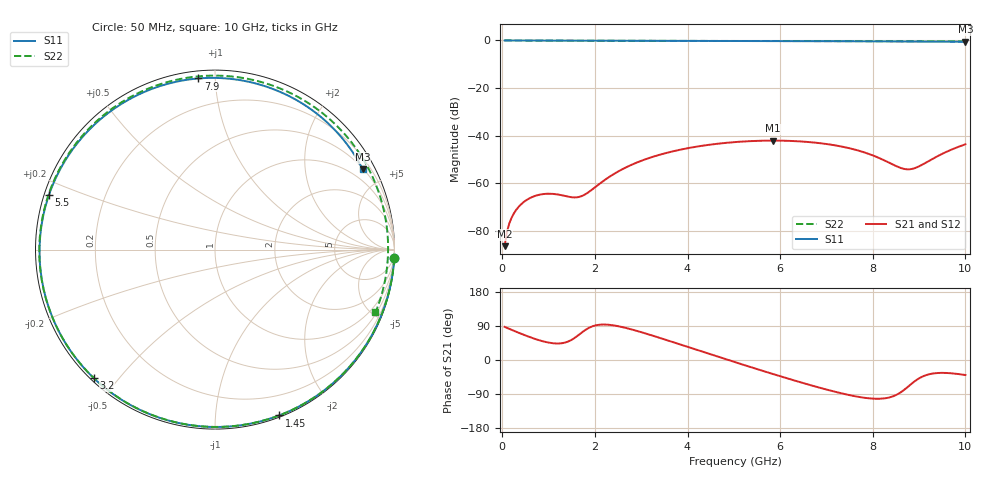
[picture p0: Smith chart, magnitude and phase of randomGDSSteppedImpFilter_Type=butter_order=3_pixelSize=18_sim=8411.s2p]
! freq	dB(S11)	phase(S11)	dB(S12)	phase(S12)
!  dB(S21)	phase(S21)	dB(S22)	phase(S22)
!S-par simulation data
#  GHz  S  DB  R 50
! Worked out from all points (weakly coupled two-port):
!   200 points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, 50 MHz to 10 GHz, reference 50 ohm
!   highest |S21| = -42.02 dB at 5.85 GHz (marker M1); lowest = -86.3 dB at 50 MHz (marker M2)
!   lowest |S11| = -0.6 dB at 10 GHz (marker M3), VSWR 30.56, Z = 26.6 + j194 ohm
!   |S11| at or under -10 dB: nowhere
!   |S22| runs from -0.4 to 0.0 dB; largest |S21 - S12| = 0
!   S11 on the Smith chart (normalised r, x): 50 MHz: 0, -45; 1.45 GHz: 0.01, -1.46; 3.2 GHz: 0.01, -0.43; 5.5 GHz: 0.01, +0.16; 7.9 GHz: 0.04, +0.91; 10 GHz: 0.53, +3.87
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0.05  -0.00 -2.5  -86.32 87.4  -86.32 87.4  -0.00 -2.8
0.1  -0.01 -5.1  -80.33 84.8  -80.33 84.8  -0.01 -5.6
0.2  -0.01 -10.1  -74.42 79.6  -74.42 79.6  -0.02 -11.1
0.3  -0.02 -15.0  -71.09 74.5  -71.09 74.5  -0.03 -16.5
0.6  -0.04 -29.8  -66.11 60.2  -66.11 60.2  -0.04 -32.8
1  -0.06 -48.8  -64.32 46.0  -64.32 46.0  -0.07 -53.8
1.45  -0.08 -68.9  -65.64 50.2  -65.64 50.2  -0.09 -76.1
1.75  -0.09 -81.5  -65.00 75.6  -65.00 75.6  -0.10 -90.2
2.4  -0.12 -106.4  -56.14 91.4  -56.14 91.4  -0.13 -118.6
3.2  -0.14 -133.4  -49.14 66.0  -49.14 66.0  -0.16 -150.1
3.4  -0.14 -139.6  -47.95 58.4  -47.95 58.4  -0.16 -157.5
4.2  -0.17 -163.0  -44.54 26.8  -44.54 26.8  -0.19 173.9
5.05  -0.21 173.8  -42.61 -6.6  -42.61 -6.6  -0.22 144.6
5.5  -0.23 161.8  -42.13 -23.9  -42.13 -23.9  -0.24 129.2
5.85  -0.25 152.5  -42.02 -37.2  -42.02 -37.2  -0.25 117.2
6.7  -0.30 129.6  -42.77 -68.0  -42.77 -68.0  -0.27 87.8
7.3  -0.33 113.0  -44.41 -87.3  -44.41 -87.3  -0.28 67.1
7.9  -0.37 95.6  -47.51 -100.9  -47.51 -100.9  -0.29 46.4
8.35  -0.40 82.0  -51.26 -99.1  -51.26 -99.1  -0.29 31.2
8.85  -0.44 66.4  -53.90 -61.4  -53.90 -61.4  -0.30 14.6
9.4  -0.49 48.6  -48.55 -34.3  -48.55 -34.3  -0.32 -3.0
10  -0.57 28.5  -43.58 -39.7  -43.58 -39.7  -0.35 -21.4
